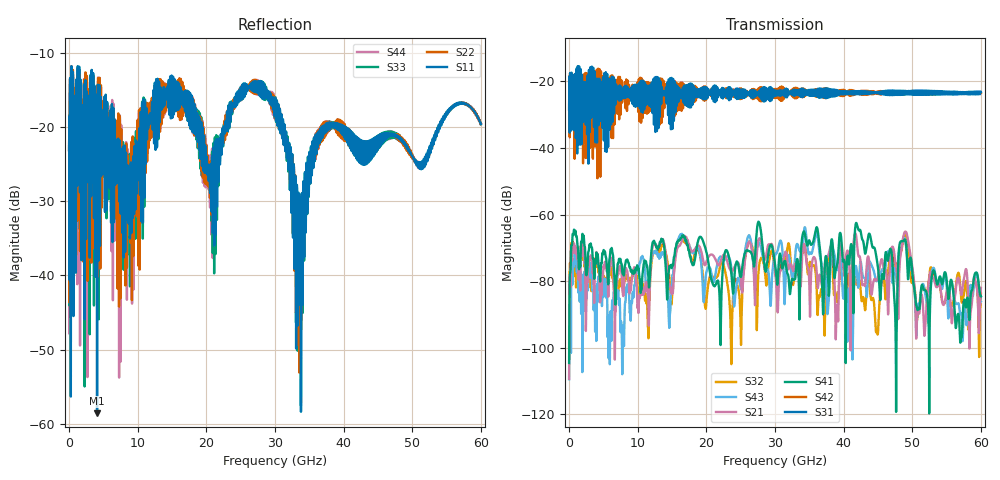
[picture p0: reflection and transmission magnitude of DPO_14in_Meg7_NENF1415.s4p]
! Tyco Electronics Strada Whisper System
! NEXT_F1415_G1112
!! SYSTEM DESCRIPTION: Daughtercard-Footprint-Connector-Footprint-Daughtercard
!! PCB DESCRIPTION: DC: 140mil, Megtron7N, upper layer route, 15mil stub, 6-6-6mil 14" traces
!! CONNECTOR DESCRIPTION: Next-Gen STRADA Whisper Direct-Plug Orthogonal Connector
!! MODEL DESCRIPTION: Tyco Electronics System 4-port S-parameter
!! MODEL STATUS: Developmental
!! MODEL GEOMETRY: Channel Model
!! MODEL FREQUENCY RANGE: DC to 60 GHz in 10 MHz frequency steps
!! MODEL EDGE RATE LIMITATION: 8.3 ps (Using conservative 0.5/Fmax rule of thumb)
!! TIME-DOMAIN TRANSFORM CAUTIONS:
!! 1.) Do not simulate transient edge rates faster than the number listed above.  Edge rates faster than this number
!!  contain significant spectral content at frequencies above the model's highest frequency.
!! 2.) Even when simulating edge rates that are slower than the number listed above, be aware that the best time
!!  resolution possible with a direct iFFT is (1 / 2Fmax).  As a result, time resolution is typically not adequate
!!  for most time-domain simulations unless tricks such as windowing are used to minimize leakage and aliasing.
!! 3.) Because the model has a uniform frequency step, a direct iFFT will result in an impulse that that has a time
!!  length given by either (1 / Fstep) or (1 / 2Fstep), depending on the transform being used.  Care has been taken
!!  in selecting the frequency step to ensure a settled impulse response for the model.  Therefore, convolution with
!!  the model's impulse response should present no issues.  However, if directly concatenating s-parameter models
!!  in the frequency domain a user must either interpolate necessary interim frequencies or complete impulse response
!!  zero-padding.  Impulse response zero-padding is more difficult, but more accurate.
!! PORT DEFINITIONS:
!! Port  1  ----->  RX Side	F14  G11  RX Side  <-----  Port  3
!! Port  2  ----->  RX Side	F15  G12  RX Side  <-----  Port  4
!!!!!!!!!!!!!!!!!!!!!!!!!!!!!!!!!!!!!!!!!!!!!!!!!!!!!!!!!!!!!!!!!!!!!!!!!!!!!!!!!!!!!!!!!!!!!!!!!!!!!!!!!!!!!!!!!!!!!!!!! Touchstone data
! Created: 10-Dec-2018 by IdEM R2012 (8.0.5)
# Hz S MA R 50
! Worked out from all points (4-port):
!   6000 points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, 10 MHz to 60 GHz, reference 50 ohm
!   strongest paths, dB at 10 MHz, 15.01 GHz, 30.01 GHz, 45.01 GHz, 60 GHz:
!     S31: -28.4, -22.3, -23.0, -23.2, -23.1
!     S42: -28.4, -20.1, -23.6, -23.4, -23.5
!     S41: -104.6, -75.4, -74.8, -76.0, -84.6
!     S21: -109.3, -83.6, -76.9, -78.7, -82.0
!     S43: -109.5, -80.2, -72.3, -79.6, -86.2
!     S32: -99.9, -84.5, -77.3, -95.5, -83.8
!   lowest |S11| = -58.6 dB at 4.08 GHz (marker M1), VSWR 1.00, Z = 50.1 + j0.0138 ohm
!   |S11| at or under -10 dB: start of sweep to end of sweep
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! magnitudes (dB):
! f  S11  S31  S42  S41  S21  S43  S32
! 10 MHz  -23.2  -28.4  -28.4  -104.6  -109.3  -109.5  -99.9
! 4.08 GHz  -58.6  -33.4  -20.9  -72.8  -72.7  -80.8  -75.7
! 28 GHz  -15.1  -24.9  -21.7  -65.8  -68.2  -70.2  -73.0
! 33.55 GHz  -43.9  -24.2  -24.4  -90.1  -77.7  -70.7  -78.3
! 37.5 GHz  -19.8  -25.0  -22.5  -72.9  -73.2  -83.6  -77.2
! 41.97 GHz  -21.4  -23.0  -23.3  -63.2  -69.3  -78.1  -79.9
! 60 GHz  -19.6  -23.1  -23.5  -84.6  -82.0  -86.2  -83.8
